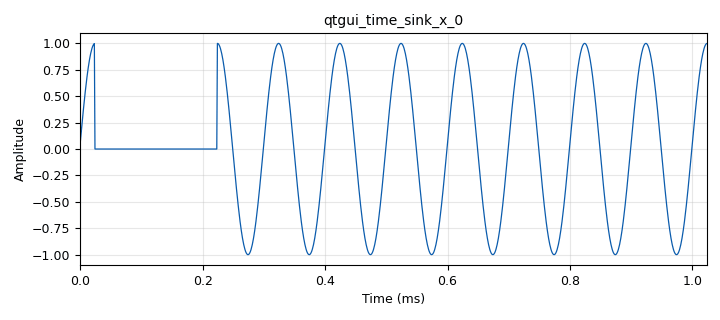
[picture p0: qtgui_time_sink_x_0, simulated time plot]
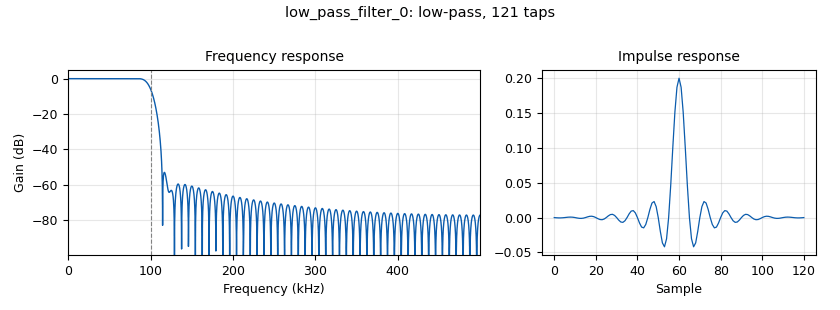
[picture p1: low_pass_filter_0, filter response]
options:
  parameters:
    author: kumar anil
    generate_options: qt_gui
    id: Ask_pluto_transmit
    output_language: python
    title: ask_pluto_transmit
  states: {}

blocks:
- name: samp_rate
  id: variable
  parameters:
    value: '1000000'
  states: {}
- name: analog_agc_xx_0
  id: analog_agc_xx
  parameters:
    gain: '1.0'
    max_gain: '65536'
    rate: '1e-4'
    reference: '1.0'
    type: complex
  states: {}
- name: analog_random_source_x_0
  id: analog_random_source_x
  parameters:
    max: '2'
    min: '0'
    num_samps: '1000'
    repeat: 'True'
    type: byte
  states: {}
- name: analog_sig_source_x_0
  id: analog_sig_source_x
  parameters:
    amp: '1'
    freq: '10000'
    offset: '0'
    phase: '0'
    samp_rate: samp_rate
    type: float
    waveform: analog.GR_COS_WAVE
  states: {}
- name: blocks_char_to_float_0
  id: blocks_char_to_float
  parameters:
    scale: '1'
  states: {}
- name: blocks_char_to_float_0_0
  id: blocks_char_to_float
  parameters:
    scale: '1'
  states: {}
- name: blocks_complex_to_mag_0
  id: blocks_complex_to_mag
  parameters: {}
  states: {}
- name: blocks_float_to_complex_0
  id: blocks_float_to_complex
  parameters: {}
  states: {}
- name: blocks_multiply_xx_0
  id: blocks_multiply_xx
  parameters:
    type: float
  states: {}
- name: blocks_repeat_0
  id: blocks_repeat
  parameters:
    interp: '200'
    type: byte
  states: {}
- name: digital_binary_slicer_fb_0
  id: digital_binary_slicer_fb
  parameters: {}
  states: {}
- name: iio_pluto_sink_0
  id: iio_pluto_sink
  parameters:
    attenuation1: '-10.0'
    bandwidth: '1000000'
    buffer_size: '32768'
    cyclic: 'False'
    filter_source: '''Auto'''
    frequency: '915000000'
    samplerate: samp_rate
    type: fc32
    uri: 192.168.2.1
  states: {}
- name: iio_pluto_source_0
  id: iio_pluto_source
  parameters:
    bandwidth: '1000000'
    bbdc: 'True'
    buffer_size: '32768'
    filter_source: '''Auto'''
    frequency: '2400000000'
    gain1: '''manual'''
    manual_gain1: '30'
    quadrature: 'True'
    rfdc: 'True'
    samplerate: samp_rate
    type: fc32
    uri: 192.168.2.1
  states: {}
- name: low_pass_filter_0
  id: low_pass_filter
  parameters:
    cutoff_freq: '100000'
    decim: '1'
    gain: '1'
    samp_rate: samp_rate
    type: fir_filter_ccf
    width: '20000'
    win: window.WIN_HAMMING
  states: {}
- name: qtgui_const_sink_x_0
  id: qtgui_const_sink_x
  parameters:
    size: '1024'
    type: complex
  states: {}
- name: qtgui_freq_sink_x_0
  id: qtgui_freq_sink_x
  parameters:
    bw: samp_rate
    fc: '0'
    fftsize: '1024'
    type: complex
  states: {}
- name: qtgui_time_sink_x_0
  id: qtgui_time_sink_x
  parameters:
    autoscale: 'True'
    size: '1024'
    srate: samp_rate
    type: float
    ymax: '2'
    ymin: '-2'
  states: {}
- name: qtgui_time_sink_x_0_0
  id: qtgui_time_sink_x
  parameters:
    autoscale: 'True'
    size: '1024'
    srate: samp_rate
    type: float
  states: {}

connections:
- [analog_agc_xx_0, '0', low_pass_filter_0, '0']
- [analog_random_source_x_0, '0', blocks_repeat_0, '0']
- [analog_sig_source_x_0, '0', blocks_multiply_xx_0, '1']
- [blocks_char_to_float_0, '0', blocks_multiply_xx_0, '0']
- [blocks_char_to_float_0_0, '0', qtgui_time_sink_x_0_0, '0']
- [blocks_complex_to_mag_0, '0', digital_binary_slicer_fb_0, '0']
- [blocks_float_to_complex_0, '0', iio_pluto_sink_0, '0']
- [blocks_multiply_xx_0, '0', blocks_float_to_complex_0, '0']
- [blocks_multiply_xx_0, '0', qtgui_time_sink_x_0, '0']
- [blocks_repeat_0, '0', blocks_char_to_float_0, '0']
- [digital_binary_slicer_fb_0, '0', blocks_char_to_float_0_0, '0']
- [iio_pluto_source_0, '0', analog_agc_xx_0, '0']
- [iio_pluto_source_0, '0', qtgui_const_sink_x_0, '0']
- [low_pass_filter_0, '0', blocks_complex_to_mag_0, '0']
- [low_pass_filter_0, '0', qtgui_freq_sink_x_0, '0']

metadata:
  file_format: 1
  grc_version: 3.10.12.0
